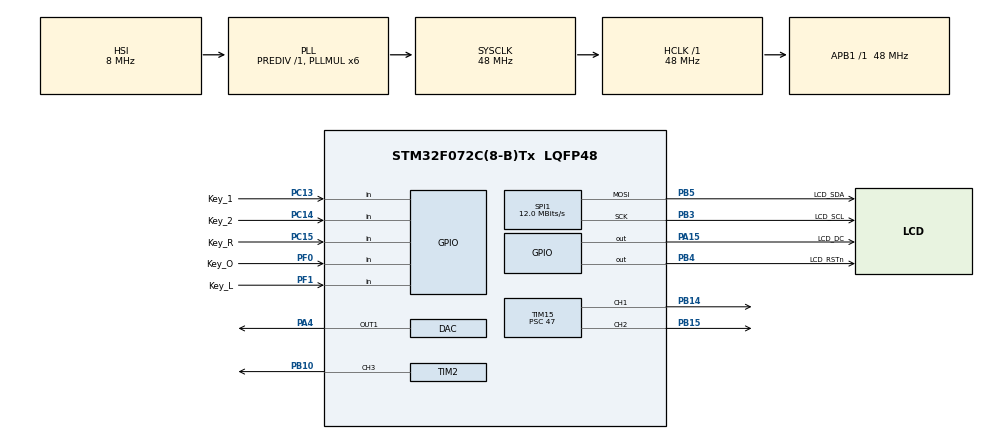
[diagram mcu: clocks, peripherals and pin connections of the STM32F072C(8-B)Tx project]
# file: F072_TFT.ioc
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DAC.DAC_OutputBuffer=DAC_OUTPUTBUFFER_ENABLE
DAC.DAC_Trigger=DAC_TRIGGER_T3_TRGO
Dma.DAC_CH1.0.Direction=DMA_MEMORY_TO_PERIPH
Dma.DAC_CH1.0.Instance=DMA1_Channel3
Dma.DAC_CH1.0.MemDataAlignment=DMA_MDATAALIGN_HALFWORD
Dma.DAC_CH1.0.MemInc=DMA_MINC_ENABLE
Dma.DAC_CH1.0.Mode=DMA_CIRCULAR
Dma.DAC_CH1.0.PeriphDataAlignment=DMA_PDATAALIGN_WORD
Dma.DAC_CH1.0.PeriphInc=DMA_PINC_DISABLE
Dma.DAC_CH1.0.Priority=DMA_PRIORITY_HIGH
Dma.Request0=DAC_CH1
Mcu.Family=STM32F0
Mcu.Name=STM32F072C(8-B)Tx
Mcu.Package=LQFP48
PA13.Mode=Serial_Wire
PA13.Signal=SYS_SWDIO
PA14.Mode=Serial_Wire
PA14.Signal=SYS_SWCLK
PA15.GPIO_Label=LCD_DC
PA15.GPIO_Speed=GPIO_SPEED_FREQ_HIGH
PA15.Signal=GPIO_Output
PA4.Signal=COMP_DAC1_group
PB10.Signal=S_TIM2_CH3
PB14.Signal=S_TIM15_CH1
PB15.Signal=S_TIM15_CH2
PB3.GPIO_Label=LCD_SCL
PB3.Mode=TX_Only_Simplex_Unidirect_Master
PB3.Signal=SPI1_SCK
PB4.GPIO_Label=LCD_RSTn
PB4.GPIO_Speed=GPIO_SPEED_FREQ_HIGH
PB4.Signal=GPIO_Output
PB5.GPIO_Label=LCD_SDA
PB5.Mode=TX_Only_Simplex_Unidirect_Master
PB5.Signal=SPI1_MOSI
PC13.GPIO_Label=Key_1
PC13.GPIO_PuPd=GPIO_PULLDOWN
PC13.Signal=GPIO_Input
PC14-OSC32_IN.GPIO_Label=Key_2
PC14-OSC32_IN.GPIO_PuPd=GPIO_PULLDOWN
PC14-OSC32_IN.Signal=GPIO_Input
PC15-OSC32_OUT.GPIO_Label=Key_R
PC15-OSC32_OUT.GPIO_PuPd=GPIO_PULLDOWN
PC15-OSC32_OUT.Signal=GPIO_Input
PF0-OSC_IN.GPIO_Label=Key_O
PF0-OSC_IN.GPIO_PuPd=GPIO_PULLDOWN
PF0-OSC_IN.Signal=GPIO_Input
PF1-OSC_OUT.GPIO_Label=Key_L
PF1-OSC_OUT.GPIO_PuPd=GPIO_PULLDOWN
PF1-OSC_OUT.Signal=GPIO_Input
ProjectManager.HeapSize=0x200
ProjectManager.StackSize=0x400
ProjectManager.TargetToolchain=MDK-ARM V5.27
RCC.AHBFreq_Value=48000000
RCC.APB1Freq_Value=48000000
RCC.APB1TimFreq_Value=48000000
RCC.HCLKFreq_Value=48000000
RCC.PLLMUL=RCC_PLL_MUL6
RCC.SYSCLKFreq_VALUE=48000000
RCC.SYSCLKSource=RCC_SYSCLKSOURCE_PLLCLK
SH.COMP_DAC1_group.0=DAC_OUT1,DAC_OUT1
SH.S_TIM15_CH1.0=TIM15_CH1,PWM Generation1 CH1
SH.S_TIM15_CH2.0=TIM15_CH2,PWM Generation2 CH2
SH.S_TIM2_CH3.0=TIM2_CH3,PWM Generation3 CH3
SPI1.BaudRatePrescaler=SPI_BAUDRATEPRESCALER_4
SPI1.CLKPhase=SPI_PHASE_2EDGE
SPI1.CLKPolarity=SPI_POLARITY_HIGH
SPI1.CalculateBaudRate=12.0 MBits/s
SPI1.DataSize=SPI_DATASIZE_8BIT
SPI1.Direction=SPI_DIRECTION_2LINES
SPI1.Mode=SPI_MODE_MASTER
SPI1.VirtualType=VM_MASTER
TIM15.Channel-PWM\ Generation1\ CH1=TIM_CHANNEL_1
TIM15.Channel-PWM\ Generation2\ CH2=TIM_CHANNEL_2
TIM15.Period=999
TIM15.Prescaler=47
TIM15.Pulse-PWM\ Generation1\ CH1=500
TIM15.Pulse-PWM\ Generation2\ CH2=500
TIM2.Channel-PWM\ Generation3\ CH3=TIM_CHANNEL_3
TIM2.Period=99
TIM2.Prescaler=4799
TIM2.Pulse-PWM\ Generation3\ CH3=49
TIM3.AutoReloadPreload=TIM_AUTORELOAD_PRELOAD_DISABLE
TIM3.Period=999
TIM3.Prescaler=1
TIM3.TIM_MasterOutputTrigger=TIM_TRGO_UPDATE
TIM7.Period=99
TIM7.Prescaler=4799
VP_TIM15_VS_ClockSourceINT.Mode=Internal
VP_TIM2_VS_ClockSourceINT.Mode=Internal
VP_TIM3_VS_ClockSourceINT.Mode=Internal
VP_TIM7_VS_ClockSourceINT.Mode=Enable_Timer
board=custom

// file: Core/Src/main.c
/* USER CODE BEGIN Header */
/**
  ******************************************************************************
  * @file           : main.c
  * @brief          : Main program body
  ******************************************************************************
  * @attention
  *
  * <h2><center>&copy; Copyright (c) 2021 STMicroelectronics.
  * All rights reserved.</center></h2>
  *
  * This software component is licensed by ST under BSD 3-Clause license,
  * the "License"; You may not use this file except in compliance with the
  * License. You may obtain a copy of the License at:
  *                        opensource.org/licenses/BSD-3-Clause
  *
  ******************************************************************************
  */
/* USER CODE END Header */
#include "main.h"
#include "dac.h"
#include "dma.h"
#include "spi.h"
#include "tim.h"
#include "gpio.h"

/* USER CODE BEGIN PV */
int16_t DAC_Value;
int16_t ADC_Value;
uint16_t keyIO[5];

/* USER CODE END PV */

void SystemClock_Config(void);

int main(void)
{

  /* MCU Configuration--------------------------------------------------------*/

  /* Reset of all peripherals, Initializes the Flash interface and the Systick. */
  HAL_Init();

  /* Configure the system clock */
  SystemClock_Config();

  /* Initialize all configured peripherals */
  MX_GPIO_Init();
  MX_DMA_Init();
  MX_SPI1_Init();
  MX_DAC_Init();
  MX_TIM2_Init();
  MX_TIM3_Init();
  MX_TIM15_Init();
  MX_TIM7_Init();
  /* USER CODE BEGIN 2 */
	//User Init
  LCD_Init();
  LCD_Clear(BLACK);
//	TFT_ShowString(20,20,"ADC Reading:", 8, 16, 0, BLACK, WHITE);
//	TFT_ShowString(20,40,"DAC Voltage:", 8, 16, 0, BLACK, WHITE);
//	TFT_ShowString(20,60,"Key_1:", 8, 16, 0, BLACK, WHITE);
//	TFT_ShowString(20,80,"Key_2:", 8, 16, 0, BLACK, WHITE);
//	TFT_ShowString(20,100,"Key_R:", 8, 16, 0, BLACK, WHITE);
//	TFT_ShowString(20,120,"Key_O:", 8, 16, 0, BLACK, WHITE);
//	TFT_ShowString(20,140,"Key_L:", 8, 16, 0, BLACK, WHITE);

	AWG_dataInit();
	AWG_cellInit();

	PWM_dataInit(&pwm);
	PWM_cellInit(&pwm);

	AWG_interfaceInit();

	HAL_TIM_Base_Start(&htim3);

	__HAL_TIM_CLEAR_IT(&htim7, TIM_IT_UPDATE);
	HAL_TIM_Base_Start_IT(&htim7);

	HAL_TIM_PWM_Start(&htim2,TIM_CHANNEL_3);

	HAL_DAC_Start_DMA(&hdac,DAC_CHANNEL_1,(uint32_t *)sine_data,SAMPLE_POINTS,DAC_ALIGN_12B_R);
  /* USER CODE END 2 */

  /* Infinite loop */
  while (1)
  {

    /* USER CODE BEGIN 3 */
		read_button(&button_state);
		modeCheck();

//		keyIO[0] = HAL_GPIO_ReadPin(Key_1_GPIO_Port, Key_1_Pin);
//		keyIO[1] = HAL_GPIO_ReadPin(Key_2_GPIO_Port, Key_2_Pin);
//		keyIO[2] = HAL_GPIO_ReadPin(Key_R_GPIO_Port, Key_R_Pin);
//		keyIO[3] = HAL_GPIO_ReadPin(Key_O_GPIO_Port, Key_O_Pin);
//		keyIO[4] = HAL_GPIO_ReadPin(Key_L_GPIO_Port, Key_L_Pin);
//
//		TFT_ShowNum(0,10,Key_1.button_flag,1,8,16, BLACK, WHITE);
//		TFT_ShowNum(20,10,Key_2.button_flag,1,8,16, BLACK, WHITE);
//		TFT_ShowNum(40,10,Key_R.button_flag,1,8,16, BLACK, WHITE);
//		TFT_ShowNum(60,10,Key_O.button_flag,1,8,16, BLACK, WHITE);
//		TFT_ShowNum(80,10,Key_L.button_flag,1,8,16, BLACK, WHITE);
//
//		TFT_ShowNum(10,30,cursor_x,1,8,16, BLACK, WHITE);
//		TFT_ShowNum(30,30,cursor_y,1,8,16, BLACK, WHITE);
	}
  /* USER CODE END 3 */
}

void SystemClock_Config(void)
{
  RCC_OscInitTypeDef RCC_OscInitStruct = {0};
  RCC_ClkInitTypeDef RCC_ClkInitStruct = {0};

  /** Initializes the RCC Oscillators according to the specified parameters
  * in the RCC_OscInitTypeDef structure.
  */
  RCC_OscInitStruct.OscillatorType = RCC_OSCILLATORTYPE_HSI;
  RCC_OscInitStruct.HSIState = RCC_HSI_ON;
  RCC_OscInitStruct.HSICalibrationValue = RCC_HSICALIBRATION_DEFAULT;
  RCC_OscInitStruct.PLL.PLLState = RCC_PLL_ON;
  RCC_OscInitStruct.PLL.PLLSource = RCC_PLLSOURCE_HSI;
  RCC_OscInitStruct.PLL.PLLMUL = RCC_PLL_MUL6;
  RCC_OscInitStruct.PLL.PREDIV = RCC_PREDIV_DIV1;
  if (HAL_RCC_OscConfig(&RCC_OscInitStruct) != HAL_OK)
  {
    Error_Handler();
  }
  /** Initializes the CPU, AHB and APB buses clocks
  */
  RCC_ClkInitStruct.ClockType = RCC_CLOCKTYPE_HCLK|RCC_CLOCKTYPE_SYSCLK
                              |RCC_CLOCKTYPE_PCLK1;
  RCC_ClkInitStruct.SYSCLKSource = RCC_SYSCLKSOURCE_PLLCLK;
  RCC_ClkInitStruct.AHBCLKDivider = RCC_SYSCLK_DIV1;
  RCC_ClkInitStruct.APB1CLKDivider = RCC_HCLK_DIV1;

  if (HAL_RCC_ClockConfig(&RCC_ClkInitStruct, FLASH_LATENCY_1) != HAL_OK)
  {
    Error_Handler();
  }
}

void Error_Handler(void)
{
  __disable_irq();
  while (1)
  {
  }
}

/************************ (C) COPYRIGHT STMicroelectronics *****END OF FILE****/
